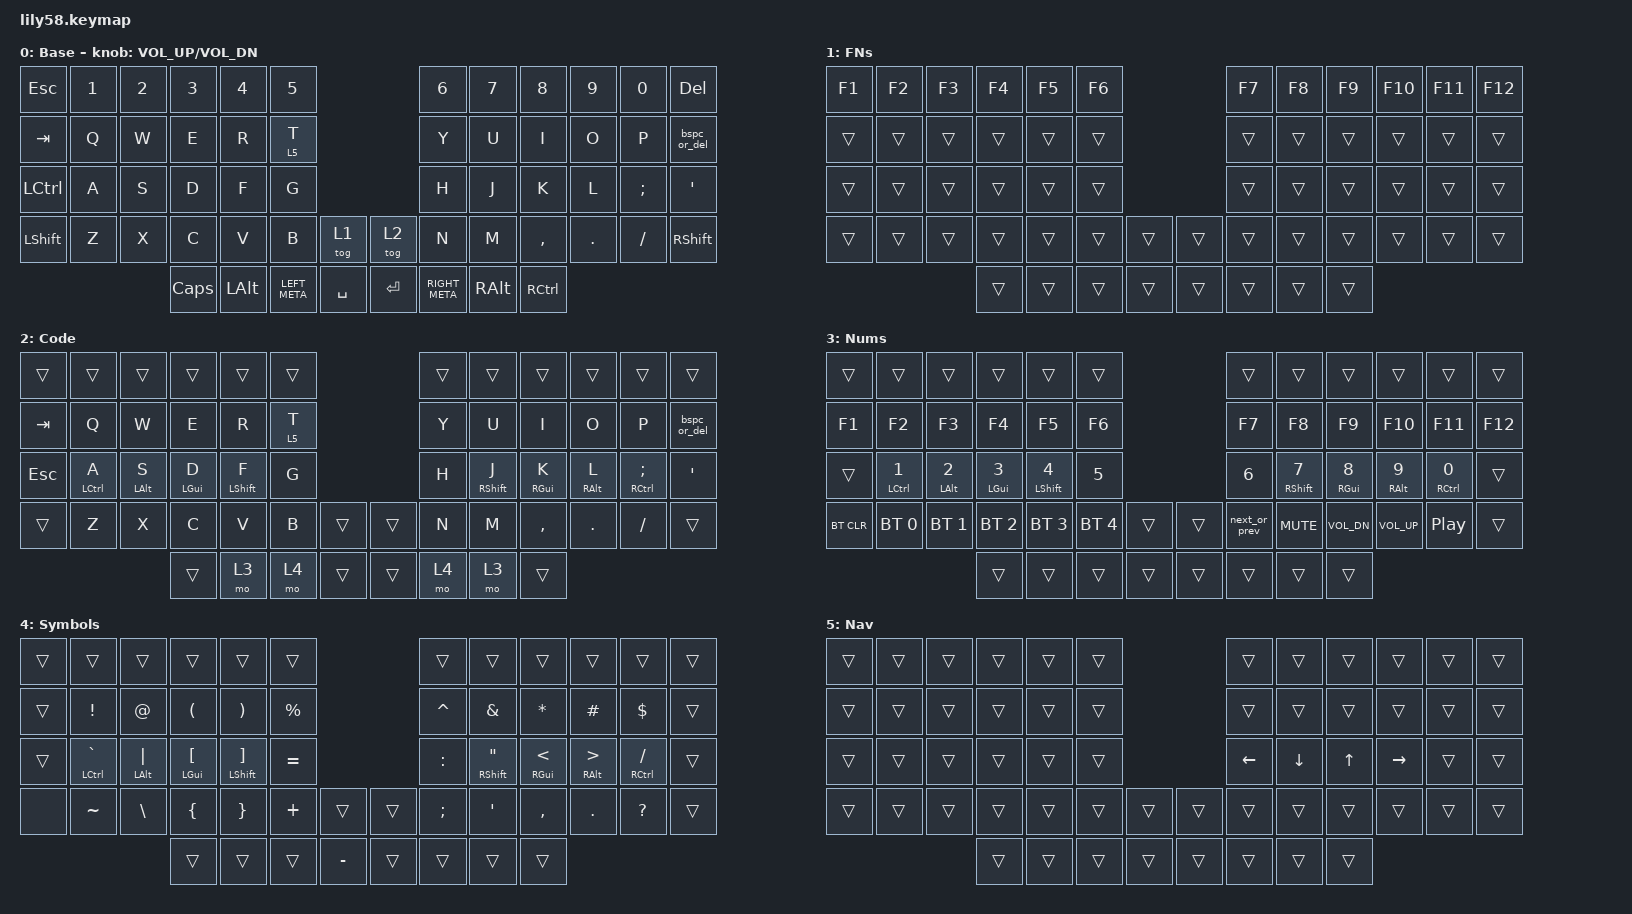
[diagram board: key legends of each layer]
/*
 * Copyright (c) 2020 The ZMK Contributors
 *
 * SPDX-License-Identifier: MIT
 */

#include <behaviors.dtsi>
#include <dt-bindings/zmk/bt.h>
#include <dt-bindings/zmk/keys.h>

/ {
    behaviors {
        bspc_or_del: bspc_or_del {
            compatible = "zmk,behavior-mod-morph";
            label = "BSPC_OR_DEL";
            bindings = <&kp BACKSPACE>, <&kp DELETE>;

            #binding-cells = <0>;
            mods = <(MOD_LSFT|MOD_RSFT)>;
        };

        next_or_prev: next_or_prev {
            compatible = "zmk,behavior-mod-morph";
            label = "NEXT_OR_PREV";
            bindings = <&kp C_NEXT>, <&kp C_PREV>;

            #binding-cells = <0>;
            mods = <(MOD_LSFT|MOD_RSFT)>;
        };

        l_mt: l_mt {
            compatible = "zmk,behavior-hold-tap";
            label = "L_MT";
            bindings = <&kp>, <&kp>;

            #binding-cells = <2>;
            tapping-term-ms = <280>;
            quick-tap-ms = <175>;
            require-prior-idle-ms = <0>;
            flavor = "balanced";
            hold-trigger-key-positions = <51 52 53 54 55 56 57 11 22 23 34 35 48 49 6 7 8 9 10 11 18 19 20 21 22 23 30 31 32 33 34 35 44 45 46 47 48 49 55 56 57>;
            hold-trigger-on-release;
        };

        r_mt: r_mt {
            compatible = "zmk,behavior-hold-tap";
            label = "R_MT";
            bindings = <&kp>, <&kp>;

            #binding-cells = <2>;
            tapping-term-ms = <280>;
            quick-tap-ms = <175>;
            require-prior-idle-ms = <0>;
            flavor = "balanced";
            hold-trigger-key-positions = <0 1 2 3 4 12 13 14 15 16 24 25 26 27 28 36 37 38 39 40 50 51 52 53 17 29 41 5 54 55 56 57>;
            hold-trigger-on-release;
        };
    };

    keymap {
        compatible = "zmk,keymap";

        default_layer {
            // ------------------------------------------------------------------------------------------------------------
            // |  ESC  |  1  |  2  |  3   |  4   |  5   |                   |  6   |  7    |  8    |  9   |   0   |   `   |
            // |  TAB  |  Q  |  W  |  E   |  R   |  T   |                   |  Y   |  U    |  I    |  O   |   P   |   -   |
            // |  CTRL |  A  |  S  |  D   |  F   |  G   |                   |  H   |  J    |  K    |  L   |   ;   |   '   |
            // | SHIFT |  Z  |  X  |  C   |  V   |  B   |   "["  |  |  "]"  |  N   |  M    |  ,    |  .   |   /   | SHIFT |
            //                     | ALT  | GUI  | LOWER|  SPACE |  | ENTER | RAISE| BSPC  | GUI   |

            display-name = "Base";
            bindings = <
&kp ESC    &kp N1  &kp N2  &kp N3        &kp N4        &kp N5                               &kp N6          &kp N7    &kp N8     &kp N9   &kp N0    &kp DELETE
&kp TAB    &kp Q   &kp W   &kp E         &kp R         &lt 5 T                              &kp Y           &kp U     &kp I      &kp O    &kp P     &bspc_or_del
&kp LCTRL  &kp A   &kp S   &kp D         &kp F         &kp G                                &kp H           &kp J     &kp K      &kp L    &kp SEMI  &kp SQT
&kp LSHFT  &kp Z   &kp X   &kp C         &kp V         &kp B          &tog 1       &tog 2   &kp N           &kp M     &kp COMMA  &kp DOT  &kp FSLH  &kp RSHFT
                           &kp CAPSLOCK  &kp LEFT_ALT  &kp LEFT_META  &kp SPACE    &kp RET  &kp RIGHT_META  &kp RALT  &kp RCTRL
            >;

            sensor-bindings = <&inc_dec_kp C_VOL_UP C_VOL_DN>;
        };

        fns {
            bindings = <
&kp F1  &kp F2  &kp F3  &kp F4  &kp F5  &kp F6                    &kp F7  &kp F8  &kp F9  &kp F10  &kp F11  &kp F12
&trans  &trans  &trans  &trans  &trans  &trans                    &trans  &trans  &trans  &trans   &trans   &trans
&trans  &trans  &trans  &trans  &trans  &trans                    &trans  &trans  &trans  &trans   &trans   &trans
&trans  &trans  &trans  &trans  &trans  &trans  &trans    &trans  &trans  &trans  &trans  &trans   &trans   &trans
                        &trans  &trans  &trans  &trans    &trans  &trans  &trans  &trans
            >;

            label = "FNs";
        };

        code {
            bindings = <
&trans      &trans         &trans            &trans            &trans         &trans                     &trans  &trans         &trans             &trans             &trans                 &trans
&kp TAB     &kp Q          &kp W             &kp E             &kp R          &lt 5 T                    &kp Y   &kp U          &kp I              &kp O              &kp P                  &bspc_or_del
&kp ESCAPE  &l_mt LCTRL A  &l_mt LEFT_ALT S  &l_mt LEFT_GUI D  &l_mt LSHFT F  &kp G                      &kp H   &r_mt RSHFT J  &r_mt RIGHT_GUI K  &r_mt RIGHT_ALT L  &r_mt RCTRL SEMICOLON  &kp SQT
&trans      &kp Z          &kp X             &kp C             &kp V          &kp B    &trans    &trans  &kp N   &kp M          &kp COMMA          &kp PERIOD         &kp SLASH              &trans
                                             &trans            &mo 3          &mo 4    &trans    &trans  &mo 4   &mo 3          &trans
            >;

            label = "Code";
        };

        lower_layer {
            bindings = <
&trans      &trans                &trans                   &trans                   &trans                &trans                          &trans         &trans                 &trans                    &trans                    &trans                &trans
&kp F1      &kp F2                &kp F3                   &kp F4                   &kp F5                &kp F6                          &kp F7         &kp F8                 &kp F9                    &kp F10                   &kp F11               &kp F12
&trans      &l_mt LCTRL NUMBER_1  &l_mt LEFT_ALT NUMBER_2  &l_mt LEFT_GUI NUMBER_3  &l_mt LSHFT NUMBER_4  &kp NUMBER_5                    &kp NUMBER_6   &r_mt RSHIFT NUMBER_7  &r_mt RIGHT_GUI NUMBER_8  &r_mt RIGHT_ALT NUMBER_9  &r_mt RCTRL NUMBER_0  &trans
&bt BT_CLR  &bt BT_SEL 0          &bt BT_SEL 1             &bt BT_SEL 2             &bt BT_SEL 3          &bt BT_SEL 4  &trans    &trans  &next_or_prev  &kp C_MUTE             &kp C_VOL_DN              &kp C_VOL_UP              &kp C_PP              &trans
                                                           &trans                   &trans                &trans        &trans    &trans  &trans         &trans                 &trans
            >;

            label = "Nums";
        };

        raise_layer {
            bindings = <
&trans  &trans             &trans               &trans                       &trans                      &trans                          &trans     &trans            &trans              &trans                        &trans             &trans
&trans  &kp EXCL           &kp AT               &kp LPAR                     &kp RPAR                    &kp PRCNT                       &kp CARET  &kp AMPS          &kp ASTRK           &kp HASH                      &kp DOLLAR         &trans
&trans  &l_mt LCTRL GRAVE  &l_mt LEFT_ALT PIPE  &l_mt LEFT_GUI LEFT_BRACKET  &l_mt LSHIFT RIGHT_BRACKET  &kp EQUAL                       &kp COLON  &r_mt RSHIFT DQT  &r_mt RIGHT_GUI LT  &r_mt RIGHT_ALT GREATER_THAN  &r_mt RCTRL SLASH  &trans
&none   &kp TILDE          &kp BACKSLASH        &kp LBRC                     &kp RBRC                    &kp PLUS   &trans       &trans  &kp SEMI   &kp SQT           &kp COMMA           &kp PERIOD                    &kp QMARK          &trans
                                                &trans                       &trans                      &trans     &kp MINUS    &trans  &trans     &trans            &trans
            >;

            label = "Symbols";
        };

        nav {
            bindings = <
&trans  &trans  &trans  &trans  &trans  &trans                    &trans    &trans    &trans  &trans     &trans  &trans
&trans  &trans  &trans  &trans  &trans  &trans                    &trans    &trans    &trans  &trans     &trans  &trans
&trans  &trans  &trans  &trans  &trans  &trans                    &kp LEFT  &kp DOWN  &kp UP  &kp RIGHT  &trans  &trans
&trans  &trans  &trans  &trans  &trans  &trans  &trans    &trans  &trans    &trans    &trans  &trans     &trans  &trans
                        &trans  &trans  &trans  &trans    &trans  &trans    &trans    &trans
            >;

            label = "Nav";
        };
    };

    conditional_layers {
        compatible = "zmk,conditional-layers";

        FNs {
            if-layers = <1 1>;
            then-layer = <1>;
        };
    };
};
